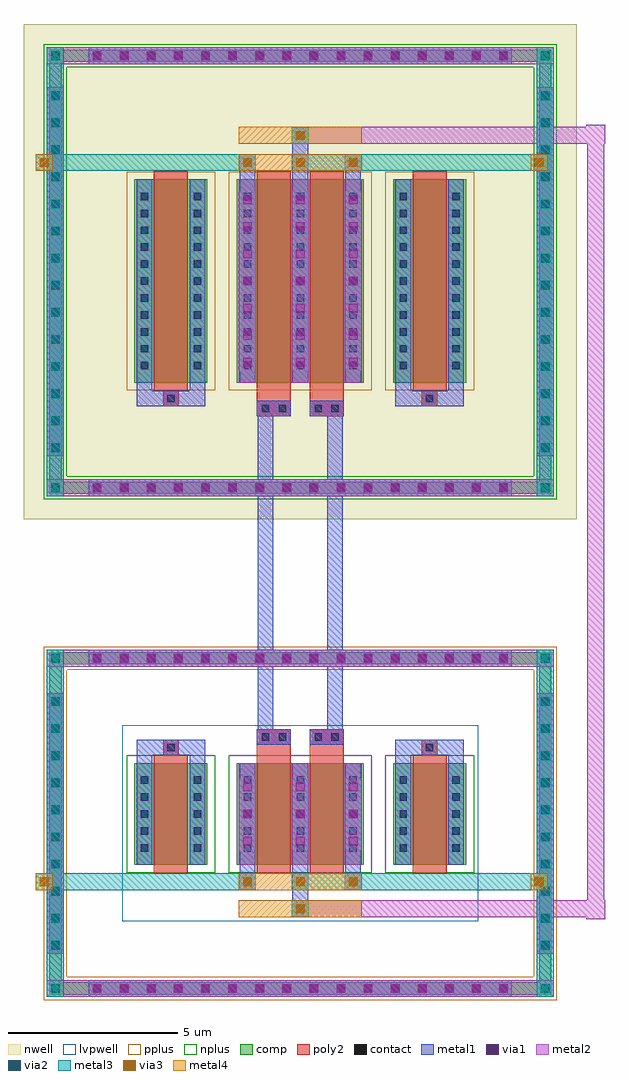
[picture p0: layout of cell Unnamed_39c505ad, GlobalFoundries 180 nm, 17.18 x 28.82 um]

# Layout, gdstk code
from math import pi, radians
import gdstk
lib = gdstk.Library(unit=1e-6, precision=5e-09)
def R(c, l, rs):  # rectangles x0, y0, x1, y1
    for r in rs: c.add(gdstk.rectangle(r[:2], r[2:], *l))
def A(c, l, x, y, w, h, nx, ny, dx, dy):  # array of equal rectangles
    R(c, l, [(x+i*dx, y+j*dy, x+i*dx+w, y+j*dy+h) for i in range(nx) for j in range(ny)])
def P(c, l, *ps):  # polygons
    for p in ps: c.add(gdstk.Polygon(p, *l))
nwell = (21, 0)
comp = (22, 0)
poly2 = (30, 0)
pplus = (31, 0)
nplus = (32, 0)
contact = (33, 0)
metal1 = (34, 0)
via1 = (35, 0)
metal2 = (36, 0)
via2 = (38, 0)
via3 = (40, 0)
metal3 = (42, 0)
metal4 = (46, 0)
lvpwell = (204, 0)

unnamed_e00b8126 = lib.new_cell('Unnamed_e00b8126')
R(unnamed_e00b8126, nwell, [(-2.96,-4.395,2.96,4.395)])
R(unnamed_e00b8126, comp, [(-2.61,-3.275,-0.45,2.725), (0.41,-3.275,2.61,2.725)])
R(unnamed_e00b8126, poly2, [(1.01,-4.275,2.01,-3.815), (1.08,-4.225,1.44,-3.865), (1.58,-4.225,1.94,-3.865), (-1.76,-3.975,-1.3,-3.515), (-1.71,-3.925,-1.35,-3.565), (1.01,-3.815,2.01,-3.515), (-2.03,-3.515,-1.03,2.965), (1.01,-3.515,2.01,2.965)])
R(unnamed_e00b8126, pplus, [(-2.84,-3.505,-0.22,2.955), (0.18,-3.505,2.84,2.955)])
A(unnamed_e00b8126, contact, -2.42, -2.885, 0.22, 0.22, 1, 11, 0, 0.5)
A(unnamed_e00b8126, contact, -0.86, -2.885, 0.22, 0.22, 1, 11, 0, 0.5)
A(unnamed_e00b8126, contact, 0.62, -2.885, 0.22, 0.22, 1, 11, 0, 0.5)
A(unnamed_e00b8126, contact, 2.18, -2.885, 0.22, 0.22, 1, 11, 0, 0.5)
R(unnamed_e00b8126, contact, [(1.15,-4.155,1.37,-3.935), (1.65,-4.155,1.87,-3.935), (-1.64,-3.855,-1.42,-3.635)])
A(unnamed_e00b8126, metal1, -2.54, -3.005, 0.46, 0.46, 1, 11, 0, 0.5)
A(unnamed_e00b8126, metal1, -0.98, -3.005, 0.46, 0.46, 1, 11, 0, 0.5)
A(unnamed_e00b8126, metal1, 0.5, -3.005, 0.46, 0.46, 1, 11, 0, 0.5)
A(unnamed_e00b8126, metal1, 2.06, -3.005, 0.46, 0.46, 1, 11, 0, 0.5)
A(unnamed_e00b8126, metal1, 0.48, -2.925, 0.5, 0.5, 1, 7, 0, 0.8)
A(unnamed_e00b8126, metal1, 2.04, -2.925, 0.5, 0.5, 1, 7, 0, 0.8)
R(unnamed_e00b8126, metal1, [(1.01,-4.275,2.01,-3.815), (1.03,-4.275,1.49,-3.815), (1.53,-4.275,1.99,-3.815), (-2.54,-3.975,-1.76,-3.515), (-2.54,-3.975,-2.08,-3.275), (-1.76,-3.975,-1.3,-3.515), (-1.3,-3.975,-0.52,-3.515), (-0.98,-3.975,-0.52,-3.275), (-2.54,-3.275,-2.08,2.725), (-0.98,-3.275,-0.52,2.725), (0.5,-3.275,0.96,2.725), (2.06,-3.275,2.52,2.725), (0.48,-2.925,0.98,2.375), (2.04,-2.925,2.54,2.375), (0.5,2.725,0.96,3.475), (2.06,2.725,2.52,4.275), (0.48,2.975,0.98,3.475), (2.04,3.775,2.54,4.275)])
A(unnamed_e00b8126, via1, 0.6, -2.805, 0.26, 0.26, 1, 7, 0, 0.8)
A(unnamed_e00b8126, via1, 2.16, -2.805, 0.26, 0.26, 1, 7, 0, 0.8)
R(unnamed_e00b8126, via1, [(0.6,3.095,0.86,3.355), (2.16,3.895,2.42,4.155)])
A(unnamed_e00b8126, metal2, 0.48, -2.925, 0.5, 0.5, 1, 7, 0, 0.8)
A(unnamed_e00b8126, metal2, 2.04, -2.925, 0.5, 0.5, 1, 7, 0, 0.8)
R(unnamed_e00b8126, metal2, [(0.48,-3.275,0.98,2.725), (2.04,-3.275,2.54,2.725), (0.48,2.975,0.98,3.475), (2.04,3.775,2.54,4.275)])
R(unnamed_e00b8126, via2, [(0.6,3.095,0.86,3.355), (2.16,3.895,2.42,4.155)])
R(unnamed_e00b8126, via3, [(0.6,3.095,0.86,3.355), (2.16,3.895,2.42,4.155)])
R(unnamed_e00b8126, metal3, [(0.48,2.975,0.98,3.475), (2.04,3.775,2.54,4.275)])
R(unnamed_e00b8126, metal4, [(0.48,2.975,0.98,3.475), (0.48,2.975,2.54,3.475), (0.48,3.775,2.54,4.275), (2.04,3.775,2.54,4.275)])

unnamed_cf9665ac = lib.new_cell('Unnamed_cf9665ac')
R(unnamed_cf9665ac, nwell, [(-2.96,-4.395,2.96,4.395)])
R(unnamed_cf9665ac, comp, [(-2.61,-3.275,-0.45,2.725), (0.41,-3.275,2.61,2.725)])
R(unnamed_cf9665ac, poly2, [(1.01,-4.275,2.01,-3.815), (1.08,-4.225,1.44,-3.865), (1.58,-4.225,1.94,-3.865), (-1.76,-3.975,-1.3,-3.515), (-1.71,-3.925,-1.35,-3.565), (1.01,-3.815,2.01,-3.515), (-2.03,-3.515,-1.03,2.965), (1.01,-3.515,2.01,2.965)])
R(unnamed_cf9665ac, pplus, [(-2.84,-3.505,-0.22,2.955), (0.18,-3.505,2.84,2.955)])
A(unnamed_cf9665ac, contact, -2.42, -2.885, 0.22, 0.22, 1, 11, 0, 0.5)
A(unnamed_cf9665ac, contact, -0.86, -2.885, 0.22, 0.22, 1, 11, 0, 0.5)
A(unnamed_cf9665ac, contact, 0.62, -2.885, 0.22, 0.22, 1, 11, 0, 0.5)
A(unnamed_cf9665ac, contact, 2.18, -2.885, 0.22, 0.22, 1, 11, 0, 0.5)
R(unnamed_cf9665ac, contact, [(1.15,-4.155,1.37,-3.935), (1.65,-4.155,1.87,-3.935), (-1.64,-3.855,-1.42,-3.635)])
A(unnamed_cf9665ac, metal1, -2.54, -3.005, 0.46, 0.46, 1, 11, 0, 0.5)
A(unnamed_cf9665ac, metal1, -0.98, -3.005, 0.46, 0.46, 1, 11, 0, 0.5)
A(unnamed_cf9665ac, metal1, 0.5, -3.005, 0.46, 0.46, 1, 11, 0, 0.5)
A(unnamed_cf9665ac, metal1, 2.06, -3.005, 0.46, 0.46, 1, 11, 0, 0.5)
A(unnamed_cf9665ac, metal1, 0.48, -2.925, 0.5, 0.5, 1, 7, 0, 0.8)
A(unnamed_cf9665ac, metal1, 2.04, -2.925, 0.5, 0.5, 1, 7, 0, 0.8)
R(unnamed_cf9665ac, metal1, [(1.01,-4.275,2.01,-3.815), (1.03,-4.275,1.49,-3.815), (1.53,-4.275,1.99,-3.815), (-2.54,-3.975,-1.76,-3.515), (-2.54,-3.975,-2.08,-3.275), (-1.76,-3.975,-1.3,-3.515), (-1.3,-3.975,-0.52,-3.515), (-0.98,-3.975,-0.52,-3.275), (-2.54,-3.275,-2.08,2.725), (-0.98,-3.275,-0.52,2.725), (0.5,-3.275,0.96,2.725), (2.06,-3.275,2.52,2.725), (0.48,-2.925,0.98,2.375), (2.04,-2.925,2.54,2.375), (0.5,2.725,0.96,3.475), (2.06,2.725,2.52,4.275), (0.48,2.975,0.98,3.475), (2.04,3.775,2.54,4.275)])
A(unnamed_cf9665ac, via1, 0.6, -2.805, 0.26, 0.26, 1, 7, 0, 0.8)
A(unnamed_cf9665ac, via1, 2.16, -2.805, 0.26, 0.26, 1, 7, 0, 0.8)
R(unnamed_cf9665ac, via1, [(0.6,3.095,0.86,3.355), (2.16,3.895,2.42,4.155)])
A(unnamed_cf9665ac, metal2, 0.48, -2.925, 0.5, 0.5, 1, 7, 0, 0.8)
A(unnamed_cf9665ac, metal2, 2.04, -2.925, 0.5, 0.5, 1, 7, 0, 0.8)
R(unnamed_cf9665ac, metal2, [(0.48,-3.275,0.98,2.725), (2.04,-3.275,2.54,2.725), (0.48,2.975,0.98,3.475), (2.04,3.775,2.54,4.275)])
R(unnamed_cf9665ac, via2, [(0.6,3.095,0.86,3.355), (2.16,3.895,2.42,4.155)])
R(unnamed_cf9665ac, via3, [(0.6,3.095,0.86,3.355), (2.16,3.895,2.42,4.155)])
R(unnamed_cf9665ac, metal3, [(0.48,2.975,0.98,3.475), (2.04,3.775,2.54,4.275)])
R(unnamed_cf9665ac, metal4, [(0.48,2.975,0.98,3.475), (0.48,2.975,2.54,3.475), (0.48,3.775,2.54,4.275), (2.04,3.775,2.54,4.275)])

unnamed_691f0cd8 = lib.new_cell('Unnamed_691f0cd8')
R(unnamed_691f0cd8, comp, [(-2.61,-1.775,-0.45,1.225), (0.41,-1.775,2.61,1.225)])
R(unnamed_691f0cd8, poly2, [(1.01,-2.775,2.01,-2.315), (1.08,-2.725,1.44,-2.365), (1.58,-2.725,1.94,-2.365), (-1.76,-2.475,-1.3,-2.015), (-1.71,-2.425,-1.35,-2.065), (1.01,-2.315,2.01,-2.015), (-2.03,-2.015,-1.03,1.465), (1.01,-2.015,2.01,1.465)])
R(unnamed_691f0cd8, nplus, [(-2.84,-2.005,-0.22,1.455), (0.18,-2.005,2.84,1.455)])
A(unnamed_691f0cd8, contact, -2.42, -1.385, 0.22, 0.22, 1, 5, 0, 0.5)
A(unnamed_691f0cd8, contact, -0.86, -1.385, 0.22, 0.22, 1, 5, 0, 0.5)
A(unnamed_691f0cd8, contact, 0.62, -1.385, 0.22, 0.22, 1, 5, 0, 0.5)
A(unnamed_691f0cd8, contact, 2.18, -1.385, 0.22, 0.22, 1, 5, 0, 0.5)
R(unnamed_691f0cd8, contact, [(1.15,-2.655,1.37,-2.435), (1.65,-2.655,1.87,-2.435), (-1.64,-2.355,-1.42,-2.135)])
A(unnamed_691f0cd8, metal1, -2.54, -1.505, 0.46, 0.46, 1, 5, 0, 0.5)
A(unnamed_691f0cd8, metal1, -0.98, -1.505, 0.46, 0.46, 1, 5, 0, 0.5)
A(unnamed_691f0cd8, metal1, 0.5, -1.505, 0.46, 0.46, 1, 5, 0, 0.5)
A(unnamed_691f0cd8, metal1, 2.06, -1.505, 0.46, 0.46, 1, 5, 0, 0.5)
A(unnamed_691f0cd8, metal1, 0.48, -1.325, 0.5, 0.5, 1, 3, 0, 0.8)
A(unnamed_691f0cd8, metal1, 2.04, -1.325, 0.5, 0.5, 1, 3, 0, 0.8)
R(unnamed_691f0cd8, metal1, [(1.01,-2.775,2.01,-2.315), (1.03,-2.775,1.49,-2.315), (1.53,-2.775,1.99,-2.315), (-2.54,-2.475,-1.76,-2.015), (-2.54,-2.475,-2.08,-1.775), (-1.76,-2.475,-1.3,-2.015), (-1.3,-2.475,-0.52,-2.015), (-0.98,-2.475,-0.52,-1.775), (-2.54,-1.775,-2.08,1.225), (-0.98,-1.775,-0.52,1.225), (0.5,-1.775,0.96,1.225), (2.06,-1.775,2.52,1.225), (0.48,-1.325,0.98,0.775), (2.04,-1.325,2.54,0.775), (0.5,1.225,0.96,1.975), (2.06,1.225,2.52,2.775), (0.48,1.475,0.98,1.975), (2.04,2.275,2.54,2.775)])
A(unnamed_691f0cd8, via1, 0.6, -1.205, 0.26, 0.26, 1, 3, 0, 0.8)
A(unnamed_691f0cd8, via1, 2.16, -1.205, 0.26, 0.26, 1, 3, 0, 0.8)
R(unnamed_691f0cd8, via1, [(0.6,1.595,0.86,1.855), (2.16,2.395,2.42,2.655)])
A(unnamed_691f0cd8, metal2, 0.48, -1.325, 0.5, 0.5, 1, 3, 0, 0.8)
A(unnamed_691f0cd8, metal2, 2.04, -1.325, 0.5, 0.5, 1, 3, 0, 0.8)
R(unnamed_691f0cd8, metal2, [(0.48,-1.775,0.98,1.225), (2.04,-1.775,2.54,1.225), (0.48,1.475,0.98,1.975), (2.04,2.275,2.54,2.775)])
R(unnamed_691f0cd8, via2, [(0.6,1.595,0.86,1.855), (2.16,2.395,2.42,2.655)])
R(unnamed_691f0cd8, via3, [(0.6,1.595,0.86,1.855), (2.16,2.395,2.42,2.655)])
R(unnamed_691f0cd8, metal3, [(0.48,1.475,0.98,1.975), (2.04,2.275,2.54,2.775)])
R(unnamed_691f0cd8, metal4, [(0.48,1.475,0.98,1.975), (0.48,1.475,2.54,1.975), (0.48,2.275,2.54,2.775), (2.04,2.275,2.54,2.775)])
R(unnamed_691f0cd8, lvpwell, [(-2.96,-2.895,2.96,2.895)])

unnamed_ee02f96b = lib.new_cell('Unnamed_ee02f96b')
R(unnamed_ee02f96b, comp, [(-2.61,-1.775,-0.45,1.225), (0.41,-1.775,2.61,1.225)])
R(unnamed_ee02f96b, poly2, [(1.01,-2.775,2.01,-2.315), (1.08,-2.725,1.44,-2.365), (1.58,-2.725,1.94,-2.365), (-1.76,-2.475,-1.3,-2.015), (-1.71,-2.425,-1.35,-2.065), (1.01,-2.315,2.01,-2.015), (-2.03,-2.015,-1.03,1.465), (1.01,-2.015,2.01,1.465)])
R(unnamed_ee02f96b, nplus, [(-2.84,-2.005,-0.22,1.455), (0.18,-2.005,2.84,1.455)])
A(unnamed_ee02f96b, contact, -2.42, -1.385, 0.22, 0.22, 1, 5, 0, 0.5)
A(unnamed_ee02f96b, contact, -0.86, -1.385, 0.22, 0.22, 1, 5, 0, 0.5)
A(unnamed_ee02f96b, contact, 0.62, -1.385, 0.22, 0.22, 1, 5, 0, 0.5)
A(unnamed_ee02f96b, contact, 2.18, -1.385, 0.22, 0.22, 1, 5, 0, 0.5)
R(unnamed_ee02f96b, contact, [(1.15,-2.655,1.37,-2.435), (1.65,-2.655,1.87,-2.435), (-1.64,-2.355,-1.42,-2.135)])
A(unnamed_ee02f96b, metal1, -2.54, -1.505, 0.46, 0.46, 1, 5, 0, 0.5)
A(unnamed_ee02f96b, metal1, -0.98, -1.505, 0.46, 0.46, 1, 5, 0, 0.5)
A(unnamed_ee02f96b, metal1, 0.5, -1.505, 0.46, 0.46, 1, 5, 0, 0.5)
A(unnamed_ee02f96b, metal1, 2.06, -1.505, 0.46, 0.46, 1, 5, 0, 0.5)
A(unnamed_ee02f96b, metal1, 0.48, -1.325, 0.5, 0.5, 1, 3, 0, 0.8)
A(unnamed_ee02f96b, metal1, 2.04, -1.325, 0.5, 0.5, 1, 3, 0, 0.8)
R(unnamed_ee02f96b, metal1, [(1.01,-2.775,2.01,-2.315), (1.03,-2.775,1.49,-2.315), (1.53,-2.775,1.99,-2.315), (-2.54,-2.475,-1.76,-2.015), (-2.54,-2.475,-2.08,-1.775), (-1.76,-2.475,-1.3,-2.015), (-1.3,-2.475,-0.52,-2.015), (-0.98,-2.475,-0.52,-1.775), (-2.54,-1.775,-2.08,1.225), (-0.98,-1.775,-0.52,1.225), (0.5,-1.775,0.96,1.225), (2.06,-1.775,2.52,1.225), (0.48,-1.325,0.98,0.775), (2.04,-1.325,2.54,0.775), (0.5,1.225,0.96,1.975), (2.06,1.225,2.52,2.775), (0.48,1.475,0.98,1.975), (2.04,2.275,2.54,2.775)])
A(unnamed_ee02f96b, via1, 0.6, -1.205, 0.26, 0.26, 1, 3, 0, 0.8)
A(unnamed_ee02f96b, via1, 2.16, -1.205, 0.26, 0.26, 1, 3, 0, 0.8)
R(unnamed_ee02f96b, via1, [(0.6,1.595,0.86,1.855), (2.16,2.395,2.42,2.655)])
A(unnamed_ee02f96b, metal2, 0.48, -1.325, 0.5, 0.5, 1, 3, 0, 0.8)
A(unnamed_ee02f96b, metal2, 2.04, -1.325, 0.5, 0.5, 1, 3, 0, 0.8)
R(unnamed_ee02f96b, metal2, [(0.48,-1.775,0.98,1.225), (2.04,-1.775,2.54,1.225), (0.48,1.475,0.98,1.975), (2.04,2.275,2.54,2.775)])
R(unnamed_ee02f96b, via2, [(0.6,1.595,0.86,1.855), (2.16,2.395,2.42,2.655)])
R(unnamed_ee02f96b, via3, [(0.6,1.595,0.86,1.855), (2.16,2.395,2.42,2.655)])
R(unnamed_ee02f96b, metal3, [(0.48,1.475,0.98,1.975), (2.04,2.275,2.54,2.775)])
R(unnamed_ee02f96b, metal4, [(0.48,1.475,0.98,1.975), (0.48,1.475,2.54,1.975), (0.48,2.275,2.54,2.775), (2.04,2.275,2.54,2.775)])
R(unnamed_ee02f96b, lvpwell, [(-2.96,-2.895,2.96,2.895)])

unnamed_e67dcddb_1 = lib.new_cell('Unnamed_e67dcddb$1')
A(unnamed_e67dcddb_1, comp, -6.18, -6.555, 0.36, 0.36, 16, 2, 0.8, 12.75)
A(unnamed_e67dcddb_1, comp, -7.41, -5.38, 0.36, 0.36, 1, 14, 0, 0.8)
A(unnamed_e67dcddb_1, comp, 7.05, -5.38, 0.36, 0.36, 1, 14, 0, 0.8)
R(unnamed_e67dcddb_1, comp, [(-6.18,-6.555,6.18,-6.195), (-7.41,-5.38,-7.05,5.38), (7.05,-5.38,7.41,5.38), (-6.18,6.195,6.18,6.555)])
P(unnamed_e67dcddb_1, comp, [(7.41,6.555),(-7.41,6.555),(-7.41,-6.195),(-7.05,-6.195),(-7.05,6.195),(7.05,6.195),(7.05,-6.195),(-7.05,-6.195),(-7.41,-6.195),(-7.41,-6.555),(7.41,-6.555)])
P(unnamed_e67dcddb_1, nplus, [(7.57,6.715),(-7.57,6.715),(-7.57,-6.035),(-6.89,-6.035),(-6.89,6.035),(6.89,6.035),(6.89,-6.035),(-6.89,-6.035),(-7.57,-6.035),(-7.57,-6.715),(7.57,-6.715)])
A(unnamed_e67dcddb_1, contact, -6.11, -6.485, 0.22, 0.22, 16, 2, 0.8, 12.75)
A(unnamed_e67dcddb_1, contact, -7.34, -5.31, 0.22, 0.22, 1, 14, 0, 0.8)
A(unnamed_e67dcddb_1, contact, 7.12, -5.31, 0.22, 0.22, 1, 14, 0, 0.8)
A(unnamed_e67dcddb_1, metal1, -6.25, -6.625, 0.5, 0.5, 16, 2, 0.8, 12.75)
A(unnamed_e67dcddb_1, metal1, -7.48, -5.45, 0.5, 0.5, 1, 14, 0, 0.8)
A(unnamed_e67dcddb_1, metal1, 6.98, -5.45, 0.5, 0.5, 1, 14, 0, 0.8)
R(unnamed_e67dcddb_1, metal1, [(-6.25,-6.625,6.25,-6.125), (-7.48,-5.45,-6.98,5.45), (6.98,-5.45,7.48,5.45), (-6.25,6.125,6.25,6.625)])
A(unnamed_e67dcddb_1, via1, -6.13, -6.505, 0.26, 0.26, 16, 2, 0.8, 12.75)
A(unnamed_e67dcddb_1, via1, -7.36, -5.33, 0.26, 0.26, 1, 14, 0, 0.8)
A(unnamed_e67dcddb_1, via1, 7.1, -5.33, 0.26, 0.26, 1, 14, 0, 0.8)
A(unnamed_e67dcddb_1, metal2, -6.25, -6.625, 0.5, 0.5, 16, 2, 0.8, 12.75)
A(unnamed_e67dcddb_1, metal2, -7.48, -5.45, 0.5, 0.5, 1, 14, 0, 0.8)
A(unnamed_e67dcddb_1, metal2, 6.98, -5.45, 0.5, 0.5, 1, 14, 0, 0.8)
R(unnamed_e67dcddb_1, metal2, [(-7.48,-6.625,-7.05,-6.125), (-7.48,-6.625,-6.98,-6.125), (-7.48,-6.625,-6.98,-6.125), (-7.05,-6.625,7.05,-6.125), (6.98,-6.625,7.48,-6.125), (6.98,-6.625,7.48,-6.125), (7.05,-6.625,7.48,-6.125), (-7.48,-5.45,-6.98,5.45), (6.98,-5.45,7.48,5.45), (-7.48,6.125,-7.05,6.625), (-7.48,6.125,-6.98,6.625), (-7.48,6.125,-6.98,6.625), (-7.05,6.125,7.05,6.625), (6.98,6.125,7.48,6.625), (6.98,6.125,7.48,6.625), (7.05,6.125,7.48,6.625)])
A(unnamed_e67dcddb_1, via2, -7.36, -5.33, 0.26, 0.26, 1, 14, 0, 0.8)
A(unnamed_e67dcddb_1, via2, 7.1, -5.33, 0.26, 0.26, 1, 14, 0, 0.8)
R(unnamed_e67dcddb_1, via2, [(-7.36,-6.505,-7.1,-6.245), (7.1,-6.505,7.36,-6.245), (-7.36,6.245,-7.1,6.505), (7.1,6.245,7.36,6.505)])
A(unnamed_e67dcddb_1, metal3, -7.48, -5.45, 0.5, 0.5, 1, 14, 0, 0.8)
A(unnamed_e67dcddb_1, metal3, 6.98, -5.45, 0.5, 0.5, 1, 14, 0, 0.8)
R(unnamed_e67dcddb_1, metal3, [(-7.48,-6.625,-6.98,-6.125), (-7.48,-6.625,-6.98,-6.125), (-7.48,-6.625,-6.98,-6.195), (6.98,-6.625,7.48,-6.125), (6.98,-6.625,7.48,-6.125), (6.98,-6.625,7.48,-6.195), (-7.48,-6.195,-6.98,6.195), (6.98,-6.195,7.48,6.195), (-7.48,6.125,-6.98,6.625), (-7.48,6.125,-6.98,6.625), (6.98,6.125,7.48,6.625), (6.98,6.125,7.48,6.625), (-7.48,6.195,-6.98,6.625), (6.98,6.195,7.48,6.625)])

unnamed_f60e07ea_1 = lib.new_cell('Unnamed_f60e07ea$1')
A(unnamed_f60e07ea_1, comp, -6.18, -5.055, 0.36, 0.36, 16, 2, 0.8, 9.75)
A(unnamed_f60e07ea_1, comp, -7.41, -3.78, 0.36, 0.36, 1, 10, 0, 0.8)
A(unnamed_f60e07ea_1, comp, 7.05, -3.78, 0.36, 0.36, 1, 10, 0, 0.8)
R(unnamed_f60e07ea_1, comp, [(-6.18,-5.055,6.18,-4.695), (-7.41,-3.78,-7.05,3.78), (7.05,-3.78,7.41,3.78), (-6.18,4.695,6.18,5.055)])
P(unnamed_f60e07ea_1, comp, [(7.41,5.055),(-7.41,5.055),(-7.41,-4.695),(-7.05,-4.695),(-7.05,4.695),(7.05,4.695),(7.05,-4.695),(-7.05,-4.695),(-7.41,-4.695),(-7.41,-5.055),(7.41,-5.055)])
P(unnamed_f60e07ea_1, pplus, [(7.57,5.215),(-7.57,5.215),(-7.57,-4.535),(-6.89,-4.535),(-6.89,4.535),(6.89,4.535),(6.89,-4.535),(-6.89,-4.535),(-7.57,-4.535),(-7.57,-5.215),(7.57,-5.215)])
A(unnamed_f60e07ea_1, contact, -6.11, -4.985, 0.22, 0.22, 16, 2, 0.8, 9.75)
A(unnamed_f60e07ea_1, contact, -7.34, -3.71, 0.22, 0.22, 1, 10, 0, 0.8)
A(unnamed_f60e07ea_1, contact, 7.12, -3.71, 0.22, 0.22, 1, 10, 0, 0.8)
A(unnamed_f60e07ea_1, metal1, -6.25, -5.125, 0.5, 0.5, 16, 2, 0.8, 9.75)
A(unnamed_f60e07ea_1, metal1, -7.48, -3.85, 0.5, 0.5, 1, 10, 0, 0.8)
A(unnamed_f60e07ea_1, metal1, 6.98, -3.85, 0.5, 0.5, 1, 10, 0, 0.8)
R(unnamed_f60e07ea_1, metal1, [(-6.25,-5.125,6.25,-4.625), (-7.48,-3.85,-6.98,3.85), (6.98,-3.85,7.48,3.85), (-6.25,4.625,6.25,5.125)])
A(unnamed_f60e07ea_1, via1, -6.13, -5.005, 0.26, 0.26, 16, 2, 0.8, 9.75)
A(unnamed_f60e07ea_1, via1, -7.36, -3.73, 0.26, 0.26, 1, 10, 0, 0.8)
A(unnamed_f60e07ea_1, via1, 7.1, -3.73, 0.26, 0.26, 1, 10, 0, 0.8)
A(unnamed_f60e07ea_1, metal2, -6.25, -5.125, 0.5, 0.5, 16, 2, 0.8, 9.75)
A(unnamed_f60e07ea_1, metal2, -7.48, -3.85, 0.5, 0.5, 1, 10, 0, 0.8)
A(unnamed_f60e07ea_1, metal2, 6.98, -3.85, 0.5, 0.5, 1, 10, 0, 0.8)
R(unnamed_f60e07ea_1, metal2, [(-7.48,-5.125,-7.05,-4.625), (-7.48,-5.125,-6.98,-4.625), (-7.48,-5.125,-6.98,-4.625), (-7.05,-5.125,7.05,-4.625), (6.98,-5.125,7.48,-4.625), (6.98,-5.125,7.48,-4.625), (7.05,-5.125,7.48,-4.625), (-7.48,-3.85,-6.98,3.85), (6.98,-3.85,7.48,3.85), (-7.48,4.625,-7.05,5.125), (-7.48,4.625,-6.98,5.125), (-7.48,4.625,-6.98,5.125), (-7.05,4.625,7.05,5.125), (6.98,4.625,7.48,5.125), (6.98,4.625,7.48,5.125), (7.05,4.625,7.48,5.125)])
A(unnamed_f60e07ea_1, via2, -7.36, -3.73, 0.26, 0.26, 1, 10, 0, 0.8)
A(unnamed_f60e07ea_1, via2, 7.1, -3.73, 0.26, 0.26, 1, 10, 0, 0.8)
R(unnamed_f60e07ea_1, via2, [(-7.36,-5.005,-7.1,-4.745), (7.1,-5.005,7.36,-4.745), (-7.36,4.745,-7.1,5.005), (7.1,4.745,7.36,5.005)])
A(unnamed_f60e07ea_1, metal3, -7.48, -3.85, 0.5, 0.5, 1, 10, 0, 0.8)
A(unnamed_f60e07ea_1, metal3, 6.98, -3.85, 0.5, 0.5, 1, 10, 0, 0.8)
R(unnamed_f60e07ea_1, metal3, [(-7.48,-5.125,-6.98,-4.625), (-7.48,-5.125,-6.98,-4.625), (-7.48,-5.125,-6.98,-4.695), (6.98,-5.125,7.48,-4.625), (6.98,-5.125,7.48,-4.625), (6.98,-5.125,7.48,-4.695), (-7.48,-4.695,-6.98,4.695), (6.98,-4.695,7.48,4.695), (-7.48,4.625,-6.98,5.125), (-7.48,4.625,-6.98,5.125), (6.98,4.625,7.48,5.125), (6.98,4.625,7.48,5.125), (-7.48,4.695,-6.98,5.125), (6.98,4.695,7.48,5.125)])

straight_route_819f5723_ = lib.new_cell('straight_route_819f5723$1')
R(straight_route_819f5723_, metal1, [(1.03,-13.515,1.49,-4.275)])

straight_route_baa59f02_ = lib.new_cell('straight_route_baa59f02$1')
R(straight_route_baa59f02_, metal1, [(3.09,-13.515,3.55,-4.275)])

straight_route_fe2a40c9_ = lib.new_cell('straight_route_fe2a40c9$1')
P(straight_route_fe2a40c9_, metal1, [(1.03,-4.275),(1.49,-4.275),(1.49,-4.275),(1.03,-4.275)])

c_route_5ef4631d_1 = lib.new_cell('c_route_5ef4631d$1')
R(c_route_5ef4631d_1, metal2, [(10.74,-19.125,11.3,-18.565), (10.77,-19.125,11.27,4.335), (11.27,-19.125,11.3,-18.565), (2.54,-19.065,11.3,-18.565), (2.54,3.775,11.3,4.275), (10.74,3.775,11.3,4.335), (11.27,3.775,11.3,4.335)])

straight_route_58214599_ = lib.new_cell('straight_route_58214599$1')
R(straight_route_58214599_, via3, [(-5.4,3.095,-5.14,3.355), (0.6,3.095,0.86,3.355)])
R(straight_route_58214599_, metal3, [(-5.52,2.975,-5.02,3.475), (-5.02,2.975,0.48,3.475), (0.48,2.975,0.98,3.475)])
R(straight_route_58214599_, metal4, [(-5.52,2.975,-5.02,3.475), (0.48,2.975,0.98,3.475)])

straight_route_c2a7f6ad_ = lib.new_cell('straight_route_c2a7f6ad$1')
R(straight_route_c2a7f6ad_, via3, [(2.16,3.095,2.42,3.355), (9.22,3.095,9.48,3.355)])
R(straight_route_c2a7f6ad_, metal3, [(2.04,2.975,9.6,3.475), (2.04,2.975,2.54,3.475), (9.1,2.975,9.6,3.475)])
R(straight_route_c2a7f6ad_, metal4, [(2.04,2.975,2.54,3.475), (9.1,2.975,9.6,3.475)])

straight_route_69dc8734_ = lib.new_cell('straight_route_69dc8734$1')
R(straight_route_69dc8734_, via3, [(-5.4,-18.145,-5.14,-17.885), (0.6,-18.145,0.86,-17.885)])
R(straight_route_69dc8734_, metal3, [(-5.52,-18.265,-5.02,-17.765), (-5.02,-18.265,0.48,-17.765), (0.48,-18.265,0.98,-17.765)])
R(straight_route_69dc8734_, metal4, [(-5.52,-18.265,-5.02,-17.765), (0.48,-18.265,0.98,-17.765)])

straight_route_1c801978_ = lib.new_cell('straight_route_1c801978$1')
R(straight_route_1c801978_, via3, [(2.16,-18.145,2.42,-17.885), (9.22,-18.145,9.48,-17.885)])
R(straight_route_1c801978_, metal3, [(2.04,-18.265,9.6,-17.765), (2.04,-18.265,2.54,-17.765), (9.1,-18.265,9.6,-17.765)])
R(straight_route_1c801978_, metal4, [(2.04,-18.265,2.54,-17.765), (9.1,-18.265,9.6,-17.765)])

unnamed_39c505ad = lib.new_cell('Unnamed_39c505ad')
R(unnamed_39c505ad, nwell, [(-5.88,-7.315,10.46,7.315)])
unnamed_39c505ad.add(gdstk.Reference(unnamed_e00b8126, (0,0)))
unnamed_39c505ad.add(gdstk.Reference(unnamed_cf9665ac, (4.58,0), rotation=pi, x_reflection=True))
unnamed_39c505ad.add(gdstk.Reference(unnamed_691f0cd8, (0,-16.29), x_reflection=True))
unnamed_39c505ad.add(gdstk.Reference(unnamed_ee02f96b, (4.58,-16.29), rotation=pi))
unnamed_39c505ad.add(gdstk.Reference(unnamed_e67dcddb_1, (2.29,0)))
unnamed_39c505ad.add(gdstk.Reference(unnamed_f60e07ea_1, (2.29,-16.29)))
unnamed_39c505ad.add(gdstk.Reference(straight_route_819f5723_, (0,0)))
unnamed_39c505ad.add(gdstk.Reference(straight_route_baa59f02_, (0,0)))
unnamed_39c505ad.add(gdstk.Reference(straight_route_fe2a40c9_, (0,0)))
unnamed_39c505ad.add(gdstk.Reference(c_route_5ef4631d_1, (0,0)))
unnamed_39c505ad.add(gdstk.Reference(straight_route_58214599_, (0,0)))
unnamed_39c505ad.add(gdstk.Reference(straight_route_c2a7f6ad_, (0,0)))
unnamed_39c505ad.add(gdstk.Reference(straight_route_69dc8734_, (0,0)))
unnamed_39c505ad.add(gdstk.Reference(straight_route_1c801978_, (0,0)))

lib.write_gds('Unnamed_39c505ad.gds')
